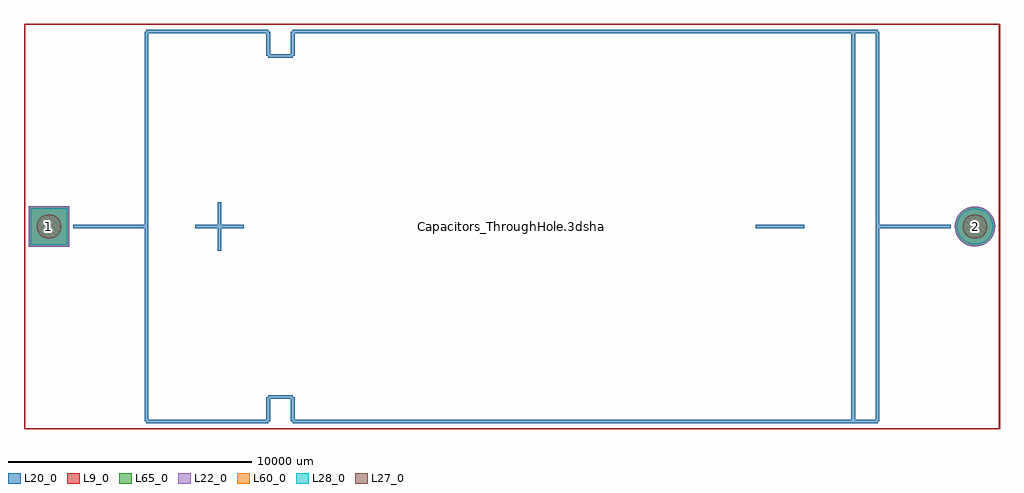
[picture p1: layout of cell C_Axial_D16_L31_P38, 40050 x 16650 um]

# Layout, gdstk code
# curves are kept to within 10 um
import gdstk
lib = gdstk.Library(unit=1e-6, precision=1e-09)
def R(c, l, rs):  # rectangles x0, y0, x1, y1
    for r in rs: c.add(gdstk.rectangle(r[:2], r[2:], *l))
def P(c, l, *ps):  # polygons
    for p in ps: c.add(gdstk.Polygon(p, *l))
L9_0 = (9, 0)
L20_0 = (20, 0)
L22_0 = (22, 0)
L27_0 = (27, 0)
L28_0 = (28, 0)
L60_0 = (60, 0)
L65_0 = (65, 0)

c_axial_d16_l31_p38 = lib.new_cell('C_Axial_D16_L31_P38')
R(c_axial_d16_l31_p38, L22_0, [(-825,-825,825,825)])
P(c_axial_d16_l31_p38, L22_0, [(38825,0),(38809.148,160.95),(38762.201,315.714),(38685.962,458.345),(38583.363,583.363),(38458.345,685.962),(38315.714,762.201),(38160.95,809.148),(38000,825),(37839.05,809.148),(37684.286,762.201),(37541.655,685.962),(37416.637,583.363),(37314.038,458.345),(37237.799,315.714),(37190.852,160.95),(37175,0),(37190.852,-160.95),(37237.799,-315.714),(37314.038,-458.345),(37416.637,-583.363),(37541.655,-685.962),(37684.286,-762.201),(37839.05,-809.148),(38000,-825),(38160.95,-809.148),(38315.714,-762.201),(38458.345,-685.962),(38583.363,-583.363),(38685.962,-458.345),(38762.201,-315.714),(38809.148,-160.95)])
P(c_axial_d16_l31_p38, L27_0, [(38499.999,0),(38461.939,191.341),(38353.553,353.553),(38191.341,461.939),(38000,499.999),(37808.659,461.939),(37646.447,353.553),(37538.061,191.341),(37500.001,0),(37538.061,-191.341),(37646.447,-353.553),(37808.659,-461.939),(38000,-499.999),(38191.341,-461.939),(38353.553,-353.553),(38461.939,-191.341)],
  [(499.999,0),(461.939,191.341),(353.553,353.553),(191.341,461.939),(0,499.999),(-191.341,461.939),(-353.553,353.553),(-461.939,191.341),(-499.999,0),(-461.939,-191.341),(-353.553,-353.553),(-191.341,-461.939),(0,-499.999),(191.341,-461.939),(353.553,-353.553),(461.939,-191.341)])
R(c_axial_d16_l31_p38, L28_0, [(-750,-750,750,750)])
P(c_axial_d16_l31_p38, L28_0, [(38750,0),(38735.589,146.318),(38692.91,287.013),(38623.602,416.678),(38530.33,530.33),(38416.678,623.602),(38287.013,692.91),(38146.318,735.589),(38000,750),(37853.682,735.589),(37712.987,692.91),(37583.322,623.602),(37469.67,530.33),(37376.398,416.678),(37307.09,287.013),(37264.411,146.318),(37250,0),(37264.411,-146.318),(37307.09,-287.013),(37376.398,-416.678),(37469.67,-530.33),(37583.322,-623.602),(37712.987,-692.91),(37853.682,-735.589),(38000,-750),(38146.318,-735.589),(38287.013,-692.91),(38416.678,-623.602),(38530.33,-530.33),(38623.602,-416.678),(38692.91,-287.013),(38735.589,-146.318)])
R(c_axial_d16_l31_p38, L60_0, [(-750,-750,750,750)])
P(c_axial_d16_l31_p38, L60_0, [(38750,0),(38735.589,146.318),(38692.91,287.013),(38623.602,416.678),(38530.33,530.33),(38416.678,623.602),(38287.013,692.91),(38146.318,735.589),(38000,750),(37853.682,735.589),(37712.987,692.91),(37583.322,623.602),(37469.67,530.33),(37376.398,416.678),(37307.09,287.013),(37264.411,146.318),(37250,0),(37264.411,-146.318),(37307.09,-287.013),(37376.398,-416.678),(37469.67,-530.33),(37583.322,-623.602),(37712.987,-692.91),(37853.682,-735.589),(38000,-750),(38146.318,-735.589),(38287.013,-692.91),(38416.678,-623.602),(38530.33,-530.33),(38623.602,-416.678),(38692.91,-287.013),(38735.589,-146.318)])
R(c_axial_d16_l31_p38, L65_0, [(-825,-825,825,825)])
P(c_axial_d16_l31_p38, L65_0, [(38825,0),(38809.148,160.95),(38762.201,315.714),(38685.962,458.345),(38583.363,583.363),(38458.345,685.962),(38315.714,762.201),(38160.95,809.148),(38000,825),(37839.05,809.148),(37684.286,762.201),(37541.655,685.962),(37416.637,583.363),(37314.038,458.345),(37237.799,315.714),(37190.852,160.95),(37175,0),(37190.852,-160.95),(37237.799,-315.714),(37314.038,-458.345),(37416.637,-583.363),(37541.655,-685.962),(37684.286,-762.201),(37839.05,-809.148),(38000,-825),(38160.95,-809.148),(38315.714,-762.201),(38458.345,-685.962),(38583.363,-583.363),(38685.962,-458.345),(38762.201,-315.714),(38809.148,-160.95)])
c_axial_d16_l31_p38.add(gdstk.FlexPath([(-1000,-8300),(-1000,8300)], 50, ends="flush", simple_path=True, layer=9, datatype=0))  # L9_0
c_axial_d16_l31_p38.add(gdstk.FlexPath([(39000,-8300),(-1000,-8300)], 50, ends="flush", simple_path=True, layer=9, datatype=0))  # L9_0
c_axial_d16_l31_p38.add(gdstk.FlexPath([(39000,8300),(39000,-8300)], 50, ends="flush", simple_path=True, layer=9, datatype=0))  # L9_0
c_axial_d16_l31_p38.add(gdstk.FlexPath([(-1000,8300),(39000,8300)], 50, ends="flush", simple_path=True, layer=9, datatype=0))  # L9_0
c_axial_d16_l31_p38.add(gdstk.FlexPath([(7000,-1000),(7000,1000)], 149.998, ends="flush", simple_path=True, layer=20, datatype=0))  # L20_0
c_axial_d16_l31_p38.add(gdstk.FlexPath([(6000,0),(8000,0)], 149.998, ends="flush", simple_path=True, layer=20, datatype=0))  # L20_0
c_axial_d16_l31_p38.add(gdstk.FlexPath([(37000,0),(34000,0)], 149.998, ends="flush", simple_path=True, layer=20, datatype=0))  # L20_0
c_axial_d16_l31_p38.add(gdstk.FlexPath([(4000,0),(1000,0)], 149.998, ends="flush", simple_path=True, layer=20, datatype=0))  # L20_0
c_axial_d16_l31_p38.add(gdstk.FlexPath([(29000,0),(31000,0)], 149.998, ends="flush", simple_path=True, layer=20, datatype=0))  # L20_0
c_axial_d16_l31_p38.add(gdstk.FlexPath([(10000,7000),(10000,8000)], 149.998, ends="flush", simple_path=True, layer=20, datatype=0))  # L20_0
c_axial_d16_l31_p38.add(gdstk.FlexPath([(9000,7000),(10000,7000)], 149.998, ends="flush", simple_path=True, layer=20, datatype=0))  # L20_0
c_axial_d16_l31_p38.add(gdstk.FlexPath([(9000,8000),(9000,7000)], 149.998, ends="flush", simple_path=True, layer=20, datatype=0))  # L20_0
c_axial_d16_l31_p38.add(gdstk.FlexPath([(9000,-7000),(9000,-8000)], 149.998, ends="flush", simple_path=True, layer=20, datatype=0))  # L20_0
c_axial_d16_l31_p38.add(gdstk.FlexPath([(10000,-7000),(9000,-7000)], 149.998, ends="flush", simple_path=True, layer=20, datatype=0))  # L20_0
c_axial_d16_l31_p38.add(gdstk.FlexPath([(10000,-8000),(10000,-7000)], 149.998, ends="flush", simple_path=True, layer=20, datatype=0))  # L20_0
c_axial_d16_l31_p38.add(gdstk.FlexPath([(4000,-8000),(4000,8000)], 149.998, ends="flush", simple_path=True, layer=20, datatype=0))  # L20_0
c_axial_d16_l31_p38.add(gdstk.FlexPath([(33000,8000),(33000,-8000)], 149.998, ends="flush", simple_path=True, layer=20, datatype=0))  # L20_0
c_axial_d16_l31_p38.add(gdstk.FlexPath([(34000,-8000),(34000,8000)], 149.998, ends="flush", simple_path=True, layer=20, datatype=0))  # L20_0
c_axial_d16_l31_p38.add(gdstk.FlexPath([(34000,8000),(10000,8000)], 149.998, ends="flush", simple_path=True, layer=20, datatype=0))  # L20_0
c_axial_d16_l31_p38.add(gdstk.FlexPath([(9000,8000),(4000,8000)], 149.998, ends="flush", simple_path=True, layer=20, datatype=0))  # L20_0
c_axial_d16_l31_p38.add(gdstk.FlexPath([(9000,-8000),(4000,-8000)], 149.998, ends="flush", simple_path=True, layer=20, datatype=0))  # L20_0
c_axial_d16_l31_p38.add(gdstk.FlexPath([(10000,-8000),(34000,-8000)], 149.998, ends="flush", simple_path=True, layer=20, datatype=0))  # L20_0
c_axial_d16_l31_p38.add(gdstk.Label('Capacitors_ThroughHole.3dshapes/C_Axial_D16_L31_P38.wrl', (18999.987,0), layer=12, texttype=0))
c_axial_d16_l31_p38.add(gdstk.Label('2', (38000,0), layer=28, texttype=0))
c_axial_d16_l31_p38.add(gdstk.Label('1', (0,0), layer=28, texttype=0))
c_axial_d16_l31_p38.add(gdstk.Label('type', (19000,-9300), layer=9, texttype=0))
c_axial_d16_l31_p38.add(gdstk.Label('devicename', (19000,9300), layer=9, texttype=0))

lib.write_gds('C_Axial_D16_L31_P38.gds')
